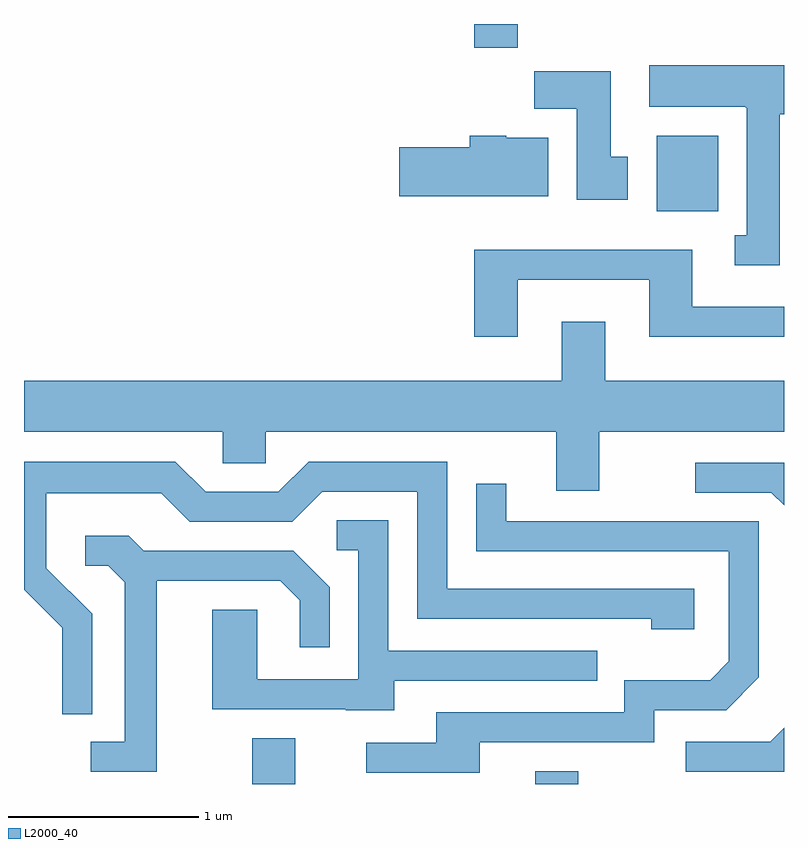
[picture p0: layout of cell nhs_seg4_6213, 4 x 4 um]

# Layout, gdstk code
import gdstk
lib = gdstk.Library(unit=1e-6, precision=1e-09)
def R(c, l, rs):  # rectangles x0, y0, x1, y1
    for r in rs: c.add(gdstk.rectangle(r[:2], r[2:], *l))
def P(c, l, *ps):  # polygons
    for p in ps: c.add(gdstk.Polygon(p, *l))
L2000_40 = (2000, 40)

nhs_seg4_6213 = lib.new_cell('nhs_seg4_6213')
R(nhs_seg4_6213, L2000_40, [(368.811,1303.982,369.039,1304.224), (370.301,1303.982,370.529,1304.049), (370.941,1306.996,371.264,1307.394), (369.981,1307.856,370.209,1307.982)])
P(nhs_seg4_6213, L2000_40, [(371.589,1307.506),(371.611,1307.506),(371.611,1307.764),(370.901,1307.764),(370.901,1307.546),(371.41,1307.546),(371.41,1307.54),(371.416,1307.54),(371.416,1306.869),(371.353,1306.869),(371.353,1306.711),(371.589,1306.711)],
  [(370.789,1307.284),(370.699,1307.284),(370.699,1307.734),(370.296,1307.734),(370.296,1307.536),(370.521,1307.536),(370.521,1307.056),(370.789,1307.056)],
  [(370.369,1307.384),(370.15,1307.384),(370.15,1307.394),(369.956,1307.394),(369.956,1307.334),(369.586,1307.334),(369.586,1307.076),(370.369,1307.076)],
  [(370.209,1306.636),(370.901,1306.636),(370.901,1306.336),(371.611,1306.336),(371.611,1306.494),(371.129,1306.494),(371.129,1306.794),(369.981,1306.794),(369.981,1306.336),(370.209,1306.336)],
  [(370.639,1305.836),(371.611,1305.836),(371.611,1306.104),(370.669,1306.104),(370.669,1306.414),(370.441,1306.414),(370.441,1306.104),(367.611,1306.104),(367.611,1305.836),(368.656,1305.836),(368.656,1305.671),(368.884,1305.671),(368.884,1305.836),(370.411,1305.836),(370.411,1305.526),(370.639,1305.526)],
  [(367.969,1304.877),(367.729,1305.117),(367.729,1305.511),(368.334,1305.511),(368.484,1305.361),(369.022,1305.361),(369.182,1305.521),(369.681,1305.521),(369.681,1304.851),(370.911,1304.851),(370.911,1304.796),(371.139,1304.796),(371.139,1305.009),(369.839,1305.009),(369.839,1305.679),(369.109,1305.679),(368.949,1305.519),(368.567,1305.519),(368.407,1305.679),(367.611,1305.679),(367.611,1305.004),(367.811,1304.804),(367.811,1304.348),(367.969,1304.348)],
  [(371.611,1305.674),(371.143,1305.674),(371.143,1305.516),(371.544,1305.516),(371.611,1305.449)],
  [(370.009,1304.201),(370.929,1304.201),(370.929,1304.371),(371.307,1304.371),(371.479,1304.544),(371.479,1305.364),(370.149,1305.364),(370.149,1305.563),(369.991,1305.563),(369.991,1305.206),(371.321,1305.206),(371.321,1304.627),(371.224,1304.529),(370.771,1304.529),(370.771,1304.359),(369.781,1304.359),(369.781,1304.199),(369.413,1304.199),(369.413,1304.041),(370.009,1304.041)],
  [(369.559,1304.526),(370.628,1304.526),(370.628,1304.684),(369.529,1304.684),(369.529,1305.369),(369.258,1305.369),(369.258,1305.211),(369.371,1305.211),(369.371,1304.534),(368.839,1304.534),(368.839,1304.899),(368.601,1304.899),(368.601,1304.376),(369.305,1304.376),(369.305,1304.371),(369.559,1304.371)],
  [(368.309,1305.051),(368.959,1305.051),(369.061,1304.949),(369.061,1304.703),(369.219,1304.703),(369.219,1305.017),(369.027,1305.209),(368.242,1305.209),(368.162,1305.289),(367.933,1305.289),(367.933,1305.131),(368.054,1305.131),(368.141,1305.044),(368.141,1304.204),(367.963,1304.204),(367.963,1304.046),(368.309,1304.046)],
  [(371.611,1304.277),(371.539,1304.204),(371.093,1304.204),(371.093,1304.046),(371.611,1304.046)])

lib.write_gds('nhs_seg4_6213.gds')
